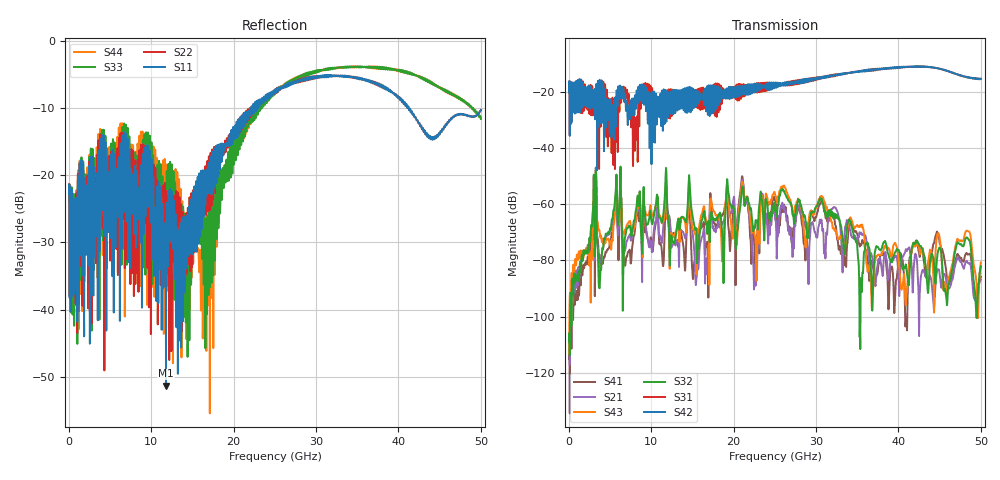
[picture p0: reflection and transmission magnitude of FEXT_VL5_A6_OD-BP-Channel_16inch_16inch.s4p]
#	Hz	S	RI	R	50
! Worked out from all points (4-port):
!   2500 points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, 20 MHz to 50 GHz, reference 50 ohm
!   strongest paths, dB at 20 MHz, 12.52 GHz, 25.02 GHz, 37.52 GHz, 50 GHz:
!     S42: -20.3, -23.9, -16.9, -12.0, -15.5
!     S31: -20.3, -21.3, -18.1, -12.0, -15.5
!     S32: -108.8, -72.1, -62.1, -75.3, -82.1
!     S43: -113.2, -70.9, -56.6, -78.0, -80.7
!     S21: -109.8, -75.0, -65.3, -80.0, -86.8
!     S41: -115.0, -71.2, -58.7, -82.6, -85.9
!   lowest |S11| = -51.3 dB at 11.78 GHz (marker M1), VSWR 1.01, Z = 49.7 - j0.0585 ohm
!   |S11| at or under -10 dB: start of sweep to 22.14 GHz; 22.2 GHz to 22.33 GHz (127.1 MHz wide, 0.571 % of centre); 41.23 GHz to end of sweep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
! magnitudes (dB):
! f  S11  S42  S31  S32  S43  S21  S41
! 20 MHz  -22.8  -20.3  -20.3  -108.8  -113.2  -109.8  -115.0
! 11.78 GHz  -51.3  -23.8  -21.4  -47.1  -51.7  -48.0  -53.4
! 15.52 GHz  -31.4  -23.6  -25.7  -75.5  -73.5  -85.4  -72.2
! 21 GHz  -11.1  -21.1  -17.6  -54.3  -52.2  -51.7  -50.3
! 22.6 GHz  -9.2  -17.9  -17.3  -67.2  -71.4  -82.8  -82.2
! 23.44 GHz  -8.5  -18.3  -17.0  -58.7  -57.2  -56.4  -56.5
! 50 GHz  -10.3  -15.5  -15.5  -82.1  -80.7  -86.8  -85.9
